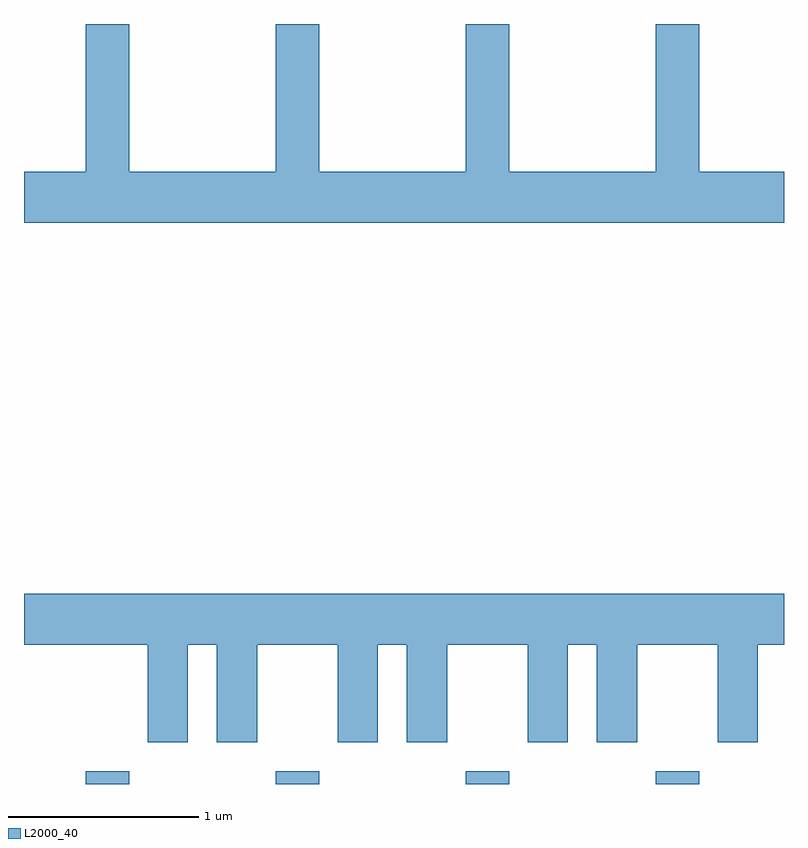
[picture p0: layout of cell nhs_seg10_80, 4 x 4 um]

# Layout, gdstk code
import gdstk
lib = gdstk.Library(unit=1e-6, precision=1e-09)
def R(c, l, rs):  # rectangles x0, y0, x1, y1
    for r in rs: c.add(gdstk.rectangle(r[:2], r[2:], *l))
def A(c, l, x, y, w, h, nx, ny, dx, dy):  # array of equal rectangles
    R(c, l, [(x+i*dx, y+j*dy, x+i*dx+w, y+j*dy+h) for i in range(nx) for j in range(ny)])
def P(c, l, *ps):  # polygons
    for p in ps: c.add(gdstk.Polygon(p, *l))
L2000_40 = (2000, 40)

nhs_seg10_80 = lib.new_cell('nhs_seg10_80')
A(nhs_seg10_80, L2000_40, 187.936, 2106.522, 0.228, 0.067, 4, 1, 1, 0)
P(nhs_seg10_80, L2000_40, [(191.611,2109.744),(191.164,2109.744),(191.164,2110.522),(190.936,2110.522),(190.936,2109.744),(190.164,2109.744),(190.164,2110.522),(189.936,2110.522),(189.936,2109.744),(189.164,2109.744),(189.164,2110.522),(188.936,2110.522),(188.936,2109.744),(188.164,2109.744),(188.164,2110.522),(187.936,2110.522),(187.936,2109.744),(187.611,2109.744),(187.611,2109.476),(191.611,2109.476)],
  [(188.474,2107.256),(188.626,2107.256),(188.626,2106.741),(188.839,2106.741),(188.839,2107.256),(189.261,2107.256),(189.261,2106.741),(189.474,2106.741),(189.474,2107.256),(189.626,2107.256),(189.626,2106.741),(189.839,2106.741),(189.839,2107.256),(190.261,2107.256),(190.261,2106.741),(190.474,2106.741),(190.474,2107.256),(190.626,2107.256),(190.626,2106.741),(190.839,2106.741),(190.839,2107.256),(191.261,2107.256),(191.261,2106.741),(191.474,2106.741),(191.474,2107.256),(191.611,2107.256),(191.611,2107.524),(187.611,2107.524),(187.611,2107.256),(188.261,2107.256),(188.261,2106.741),(188.474,2106.741)])

lib.write_gds('nhs_seg10_80.gds')
